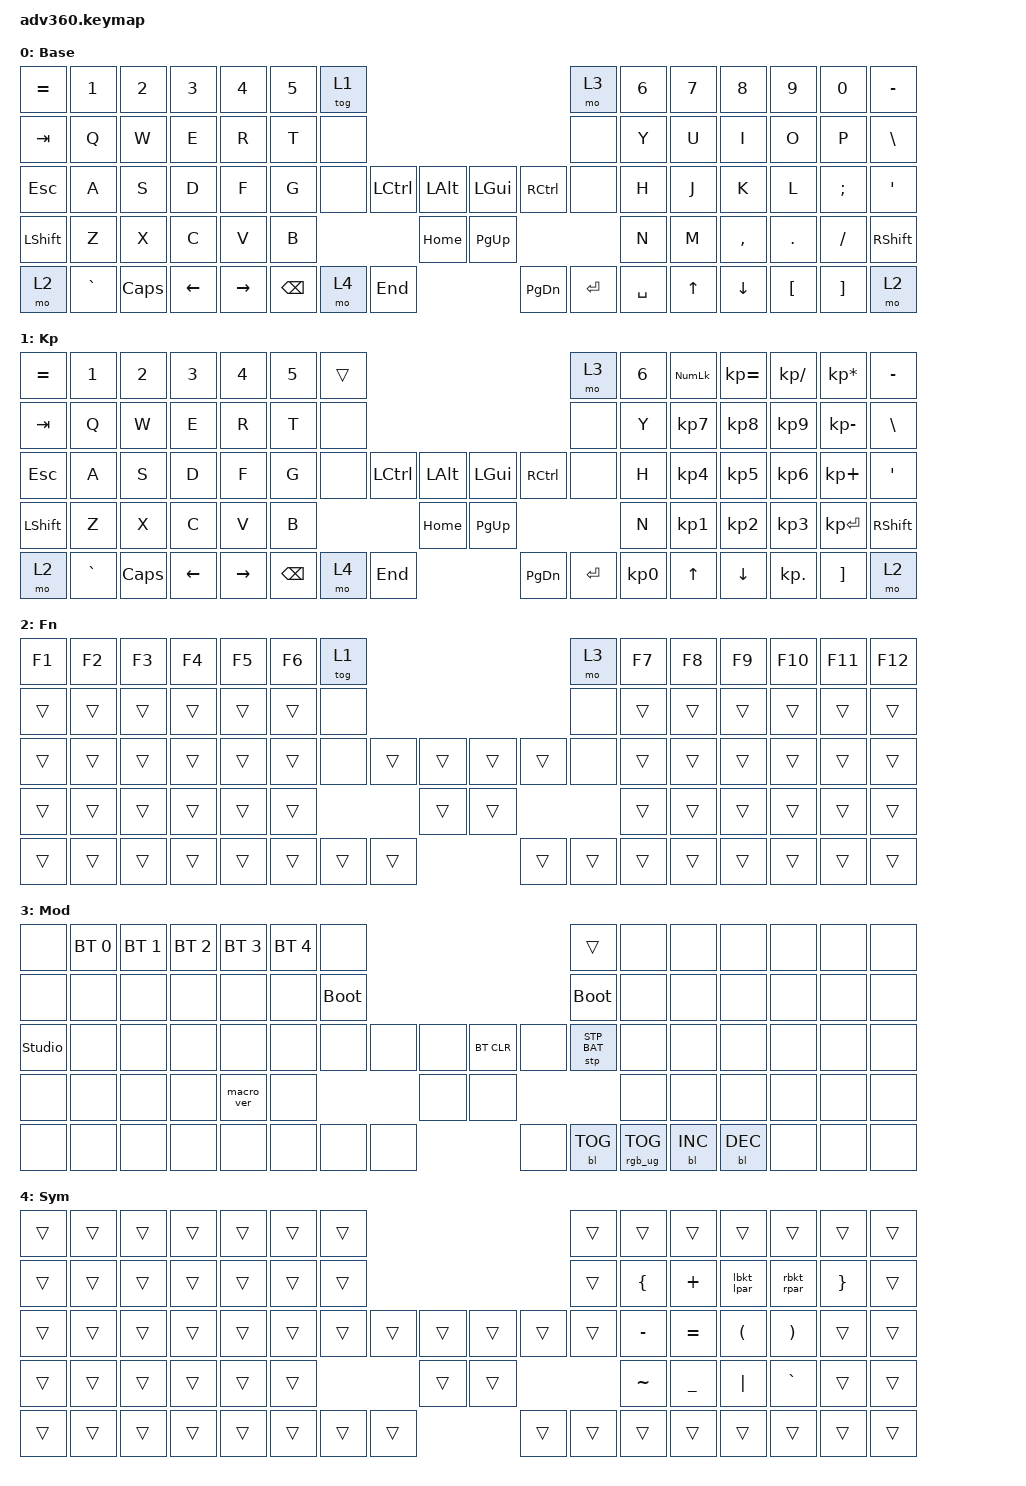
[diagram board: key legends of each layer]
#include <behaviors.dtsi>
#include <dt-bindings/zmk/keys.h>
#include <dt-bindings/zmk/bt.h>
#include <dt-bindings/zmk/rgb.h>
#include <dt-bindings/zmk/stp.h>
#include <dt-bindings/zmk/backlight.h>
#include <dt-bindings/zmk/pointing.h>

/ {
    behaviors {
      #include "macros.dtsi"
      #include "version.dtsi"

      hm: homerow_mods {
          compatible = "zmk,behavior-hold-tap";
          label = "HOMEROW_MODS";
          #binding-cells = <2>;
          tapping-term-ms = <200>;
          quick_tap_ms = <175>;
          flavor = "tap-preferred";
          bindings = <&kp>, <&kp>;
      };

      lbkt_lpar: left_bracket_paren {
          compatible = "zmk,behavior-mod-morph";
          #binding-cells = <0>;
          bindings = <&kp LBKT>, <&kp LPAR>;
          mods = <(MOD_LSFT|MOD_RSFT)>;
      };

      rbkt_rpar: right_bracket_paren {
          compatible = "zmk,behavior-mod-morph";
          #binding-cells = <0>;
          bindings = <&kp RBKT>, <&kp RPAR>;
          mods = <(MOD_LSFT|MOD_RSFT)>;
      };
    };

  keymap {
    compatible = "zmk,keymap";

    default_layer {
      display-name = "Base";
      bindings = <
        &kp EQUAL &kp N1    &kp N2   &kp N3   &kp N4     &kp N5 &tog 1                                                           &mo 3 &kp N6 &kp N7 &kp N8    &kp N9   &kp N0   &kp MINUS
        &kp TAB   &kp Q     &kp W    &kp E    &kp R      &kp T  &none                                                            &none &kp Y  &kp U  &kp I     &kp O    &kp P    &kp BSLH
        &kp ESC   &kp A     &kp S    &kp D    &kp F      &kp G  &none           &kp LCTRL &kp LALT &kp LGUI  &kp RCTRL           &none &kp H  &kp J  &kp K     &kp L    &kp SEMI &kp SQT
        &kp LSHFT &kp Z     &kp X    &kp C    &kp V      &kp B                            &kp HOME &kp PG_UP                           &kp N  &kp M  &kp COMMA &kp DOT  &kp FSLH &kp RSHFT
        &mo 2     &kp GRAVE &kp CAPS &kp LEFT &kp RIGHT                &kp BSPC &mo 4     &kp END  &kp PG_DN &kp ENTER &kp SPACE              &kp UP &kp DOWN  &kp LBKT &kp RBKT &mo 2
      >;
    };
    keypad {
      display-name = "Kp";
      bindings = <
        &kp EQUAL &kp N1    &kp N2   &kp N3   &kp N4     &kp N5 &trans                                                           &mo 3 &kp N6 &kp KP_NUM &kp KP_EQUAL &kp KP_DIVIDE &kp KP_MULTIPLY &kp MINUS
        &kp TAB   &kp Q     &kp W    &kp E    &kp R      &kp T  &none                                                            &none &kp Y  &kp KP_N7  &kp KP_N8    &kp KP_N9     &kp KP_MINUS    &kp BSLH
        &kp ESC   &kp A     &kp S    &kp D    &kp F      &kp G  &none           &kp LCTRL &kp LALT &kp LGUI  &kp RCTRL           &none &kp H  &kp KP_N4  &kp KP_N5    &kp KP_N6     &kp KP_PLUS     &kp SQT
        &kp LSHFT &kp Z     &kp X    &kp C    &kp V      &kp B                            &kp HOME &kp PG_UP                           &kp N  &kp KP_N1  &kp KP_N2    &kp KP_N3     &kp KP_ENTER    &kp RSHFT
        &mo 2     &kp GRAVE &kp CAPS &kp LEFT &kp RIGHT                &kp BSPC &mo 4     &kp END  &kp PG_DN &kp ENTER &kp KP_N0              &kp UP     &kp DOWN     &kp KP_DOT    &kp RBKT        &mo 2
      >;
    };
    fn {
      display-name = "Fn";
      bindings = <
        &kp F1 &kp F2 &kp F3 &kp F4 &kp F5 &kp F6 &tog 1                                           &mo 3 &kp F7 &kp F8 &kp F9 &kp F10 &kp F11 &kp F12
        &trans &trans &trans &trans &trans &trans  &none                                           &none &trans &trans &trans &trans  &trans  &trans
        &trans &trans &trans &trans &trans &trans  &none        &trans &trans &trans &trans        &none &trans &trans &trans &trans  &trans  &trans
        &trans &trans &trans &trans &trans &trans                      &trans &trans                     &trans &trans &trans &trans  &trans  &trans
        &trans &trans &trans &trans &trans               &trans &trans &trans &trans &trans &trans              &trans &trans &trans  &trans  &trans
      >;
    };
    mod {
      display-name = "Mod";
      bindings = <
        &none &bt BT_SEL 0 &bt BT_SEL 1 &bt BT_SEL 2 &bt BT_SEL 3 &bt BT_SEL 4 &none                                                                     &trans                 &none        &none        &none        &none &none &none
        &none &none        &none        &none        &none        &none        &bootloader                                                               &bootloader            &none        &none        &none        &none &none &none
        &studio_unlock &none        &none        &none        &none        &none        &none                   &none &none &bt BT_CLR &none                      &stp STP_BAT &none        &none        &none        &none &none &none
        &none &none        &none        &none        &macro_ver   &none                                      &none &none                                                        &none        &none        &none        &none &none &none
        &none &none        &none        &none        &none                                       &none &none &none &none      &bl BL_TOG &rgb_ug RGB_TOG                                     &bl BL_INC   &bl BL_DEC   &none &none &none
      >;
    };
    sym {
      display-name = "Sym";
      bindings = <
        &trans &trans &trans &trans &trans &trans &trans                                                     &trans &trans    &trans    &trans    &trans    &trans &trans
        &trans &trans &trans &trans &trans &trans &trans                                                     &trans &kp LBRC &kp PLUS &lbkt_lpar &rbkt_rpar &kp RBRC &trans
        &trans &trans &trans &trans &trans &trans &trans           &trans &trans &trans &trans               &trans &kp MINUS &kp EQUAL &kp LPAR  &kp RPAR  &trans &trans
        &trans &trans &trans &trans &trans &trans                          &trans &trans                            &kp TILDE &kp UNDER &kp PIPE  &kp GRAVE &trans &trans
        &trans &trans &trans &trans &trans                 &trans &trans   &trans &trans &trans &trans                        &trans    &trans    &trans    &trans &trans
      >;
    };

    extra2 { 
      display-name = "Purple";    
      status = "reserved";
    };

    extra3 { 
      display-name = "Cyan";    
      status = "reserved";
    };

    extra4 { 
      display-name = "Yellow";    
      status = "reserved";
    };
  };
};
